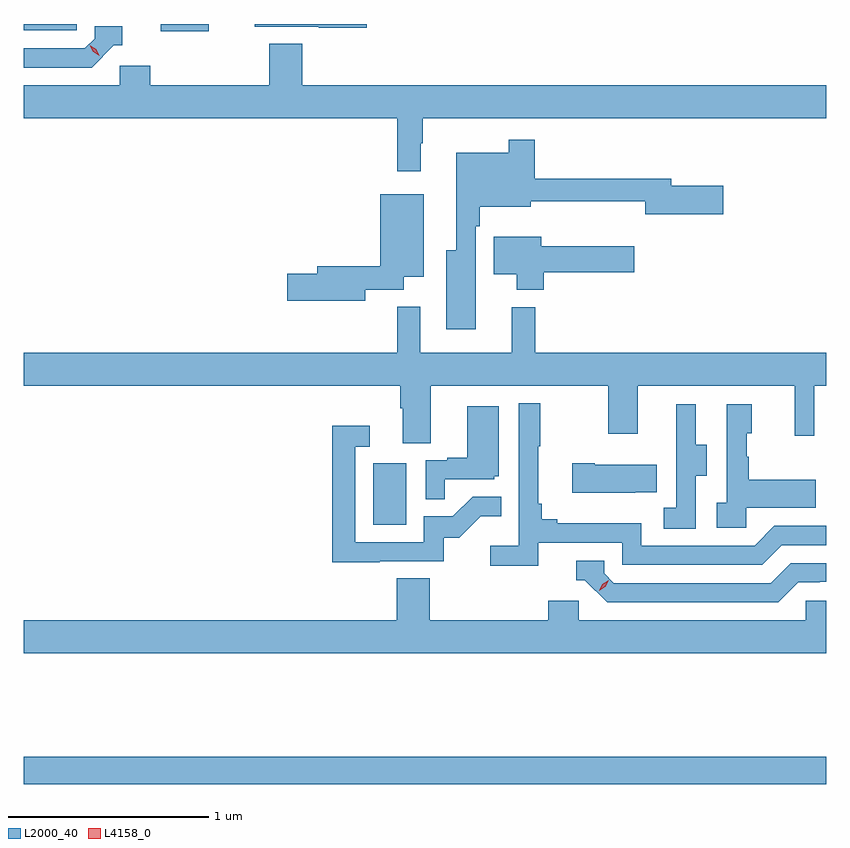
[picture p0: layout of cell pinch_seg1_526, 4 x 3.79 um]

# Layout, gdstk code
import gdstk
lib = gdstk.Library(unit=1e-6, precision=1e-09)
def R(c, l, rs):  # rectangles x0, y0, x1, y1
    for r in rs: c.add(gdstk.rectangle(r[:2], r[2:], *l))
def P(c, l, *ps):  # polygons
    for p in ps: c.add(gdstk.Polygon(p, *l))
L2000_40 = (2000, 40)
L4158_0 = (4158, 0)

pinch_seg1_526 = lib.new_cell('pinch_seg1_526')
R(pinch_seg1_526, L2000_40, [(1058.904,527.104,1062.904,527.24), (1060.646,528.396,1060.81,528.703), (1059.587,530.854,1059.826,530.89), (1058.904,530.859,1059.168,530.89)])
P(pinch_seg1_526, L2000_40, [(1060.613,530.89),(1060.057,530.89),(1060.057,530.877),(1060.375,530.877),(1060.375,530.872),(1060.613,530.872)],
  [(1059.354,530.784),(1059.397,530.784),(1059.397,530.88),(1059.258,530.88),(1059.258,530.817),(1059.21,530.769),(1058.904,530.769),(1058.904,530.673),(1059.243,530.673)],
  [(1060.882,530.297),(1060.894,530.297),(1060.894,530.42),(1062.904,530.42),(1062.904,530.584),(1060.292,530.584),(1060.292,530.792),(1060.127,530.792),(1060.127,530.584),(1059.536,530.584),(1059.536,530.682),(1059.384,530.682),(1059.384,530.584),(1058.904,530.584),(1058.904,530.42),(1060.765,530.42),(1060.765,530.157),(1060.882,530.157)],
  [(1061.158,529.883),(1061.177,529.883),(1061.177,529.979),(1061.431,529.979),(1061.431,530.008),(1062.002,530.008),(1062.002,529.943),(1062.391,529.943),(1062.391,530.085),(1062.13,530.085),(1062.13,530.119),(1061.45,530.119),(1061.45,530.314),(1061.322,530.314),(1061.322,530.248),(1061.06,530.248),(1061.06,529.762),(1061.009,529.762),(1061.009,529.37),(1061.158,529.37)],
  [(1060.606,529.566),(1060.798,529.566),(1060.798,529.631),(1060.897,529.631),(1060.897,530.041),(1060.682,530.041),(1060.682,529.682),(1060.367,529.682),(1060.367,529.646),(1060.218,529.646),(1060.218,529.511),(1060.606,529.511)],
  [(1061.495,529.654),(1061.947,529.654),(1061.947,529.783),(1061.482,529.783),(1061.482,529.831),(1061.246,529.831),(1061.246,529.643),(1061.36,529.643),(1061.36,529.565),(1061.495,529.565)],
  [(1060.933,529.088),(1061.818,529.088),(1061.818,528.849),(1061.965,528.849),(1061.965,529.088),(1062.746,529.088),(1062.746,528.84),(1062.843,528.84),(1062.843,529.088),(1062.904,529.088),(1062.904,529.252),(1061.453,529.252),(1061.453,529.48),(1061.336,529.48),(1061.336,529.252),(1060.881,529.252),(1060.881,529.481),(1060.765,529.481),(1060.765,529.252),(1058.904,529.252),(1058.904,529.088),(1060.781,529.088),(1060.781,528.976),(1060.793,528.976),(1060.793,528.802),(1060.933,528.802)],
  [(1061.468,528.306),(1061.886,528.306),(1061.886,528.195),(1062.583,528.195),(1062.682,528.294),(1062.904,528.294),(1062.904,528.39),(1062.645,528.39),(1062.546,528.291),(1061.982,528.291),(1061.982,528.403),(1061.563,528.403),(1061.563,528.422),(1061.486,528.422),(1061.486,528.499),(1061.467,528.499),(1061.467,528.787),(1061.479,528.787),(1061.479,529),(1061.37,529),(1061.37,528.292),(1061.229,528.292),(1061.229,528.19),(1061.468,528.19)],
  [(1062.504,528.479),(1062.851,528.479),(1062.851,528.619),(1062.517,528.619),(1062.517,528.734),(1062.507,528.734),(1062.507,528.852),(1062.532,528.852),(1062.532,528.997),(1062.408,528.997),(1062.408,528.506),(1062.357,528.506),(1062.357,528.381),(1062.504,528.381)],
  [(1062.252,528.64),(1062.307,528.64),(1062.307,528.795),(1062.253,528.795),(1062.253,528.997),(1062.155,528.997),(1062.155,528.783),(1062.156,528.783),(1062.156,528.479),(1062.093,528.479),(1062.093,528.376),(1062.252,528.376)],
  [(1061.003,528.621),(1061.25,528.621),(1061.25,528.636),(1061.272,528.636),(1061.272,528.985),(1061.114,528.985),(1061.114,528.73),(1061.015,528.73),(1061.015,528.717),(1060.908,528.717),(1060.908,528.523),(1061.003,528.523)],
  [(1060.679,528.213),(1060.998,528.213),(1060.998,528.33),(1061.074,528.33),(1061.181,528.437),(1061.285,528.437),(1061.285,528.536),(1061.141,528.536),(1061.043,528.438),(1060.899,528.438),(1060.899,528.309),(1060.557,528.309),(1060.557,528.783),(1060.63,528.783),(1060.63,528.889),(1060.441,528.889),(1060.441,528.208),(1060.679,528.208)],
  [(1061.951,528.557),(1062.059,528.557),(1062.059,528.694),(1061.749,528.694),(1061.749,528.702),(1061.637,528.702),(1061.637,528.554),(1061.951,528.554)],
  [(1062.763,528.108),(1062.87,528.108),(1062.87,528.111),(1062.904,528.111),(1062.904,528.204),(1062.726,528.204),(1062.627,528.105),(1061.844,528.105),(1061.796,528.153),(1061.796,528.216),(1061.657,528.216),(1061.657,528.12),(1061.7,528.12),(1061.811,528.009),(1062.664,528.009)],
  [(1062.904,528.018),(1062.801,528.018),(1062.801,527.92),(1061.67,527.92),(1061.67,528.018),(1061.519,528.018),(1061.519,527.92),(1060.928,527.92),(1060.928,528.128),(1060.763,528.128),(1060.763,527.92),(1058.904,527.92),(1058.904,527.756),(1062.904,527.756)])
P(pinch_seg1_526, L4158_0, [(1061.772,528.067),(1061.772,528.068),(1061.788,528.1),(1061.819,528.12),(1061.819,528.12),(1061.819,528.12),(1061.803,528.087),(1061.772,528.067)],
  [(1059.281,530.731),(1059.251,530.751),(1059.235,530.784),(1059.235,530.784),(1059.235,530.784),(1059.266,530.764),(1059.282,530.731),(1059.282,530.731)])

lib.write_gds('pinch_seg1_526.gds')
